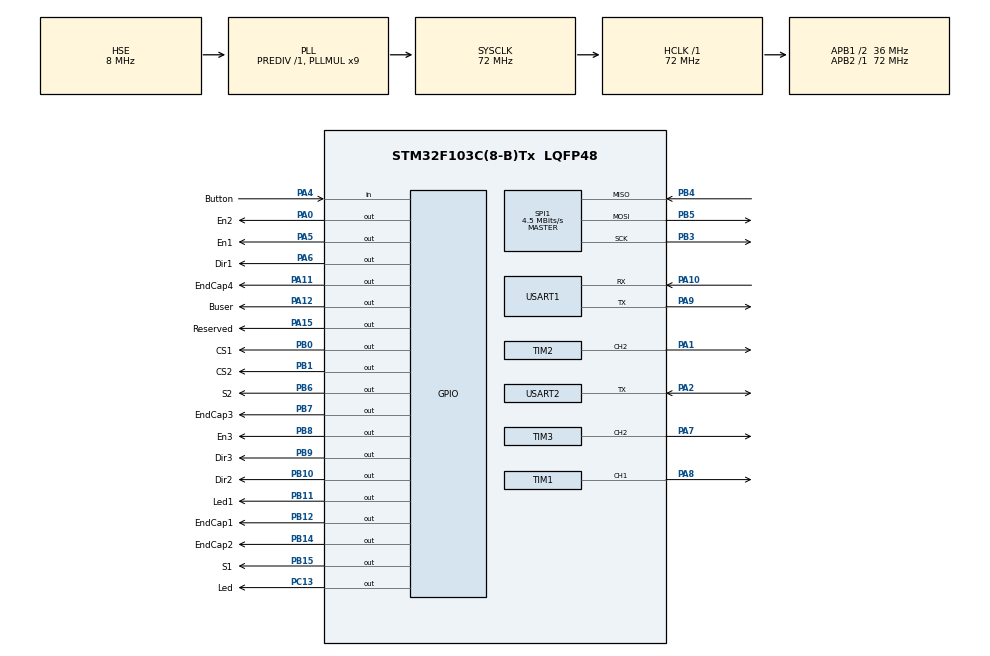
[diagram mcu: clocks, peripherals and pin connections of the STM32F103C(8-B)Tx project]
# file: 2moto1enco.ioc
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FREERTOS.Tasks01=defaultTask,0,128,StartDefaultTask,Default,NULL,Dynamic,NULL,NULL;myAMT22Task,-3,128,StartAMT22Data,Default,NULL,Dynamic,NULL,NULL;myUARTTask,-3,128,StartUARTData,Default,NULL,Dynamic,NULL,NULL
FREERTOS.configUSE_NEWLIB_REENTRANT=1
Mcu.Family=STM32F1
Mcu.Name=STM32F103C(8-B)Tx
Mcu.Package=LQFP48
NVIC.PriorityGroup=NVIC_PRIORITYGROUP_4
NVIC.RCC_IRQn=true\:5\:0\:false\:false\:true\:true\:true\:false\:true
NVIC.SPI1_IRQn=true\:5\:0\:false\:false\:true\:true\:true\:true\:true
NVIC.TIM1_UP_IRQn=true\:5\:0\:false\:false\:true\:true\:true\:true\:true
NVIC.TIM2_IRQn=true\:5\:0\:false\:false\:true\:true\:true\:true\:true
NVIC.TIM3_IRQn=true\:5\:0\:false\:false\:true\:true\:true\:true\:true
NVIC.TIM4_IRQn=true\:15\:0\:false\:false\:true\:false\:false\:true\:true
NVIC.TimeBase=TIM4_IRQn
NVIC.TimeBaseIP=TIM4
NVIC.USART1_IRQn=true\:5\:0\:false\:false\:true\:true\:true\:true\:true
NVIC.USART2_IRQn=true\:5\:0\:false\:false\:true\:true\:true\:true\:true
PA0-WKUP.GPIO_Label=En2
PA0-WKUP.Signal=GPIO_Output
PA1.Signal=S_TIM2_CH2
PA10.Mode=Asynchronous
PA10.Signal=USART1_RX
PA11.GPIO_Label=EndCap4
PA11.Signal=GPIO_Output
PA12.GPIO_Label=Buser
PA12.Signal=GPIO_Output
PA13.Mode=Serial_Wire
PA13.Signal=SYS_JTMS-SWDIO
PA14.Mode=Serial_Wire
PA14.Signal=SYS_JTCK-SWCLK
PA15.GPIO_Label=Reserved
PA15.Signal=GPIO_Output
PA2.Mode=Half_duplex(single_wire_mode)
PA2.Signal=USART2_TX
PA4.GPIO_Label=Button
PA4.Signal=GPIO_Input
PA5.GPIO_Label=En1
PA5.Signal=GPIO_Output
PA6.GPIO_Label=Dir1
PA6.Signal=GPIO_Output
PA7.Signal=S_TIM3_CH2
PA8.Signal=S_TIM1_CH1
PA9.Mode=Asynchronous
PA9.Signal=USART1_TX
PB0.GPIO_Label=CS1
PB0.Signal=GPIO_Output
PB1.GPIO_Label=CS2
PB1.Signal=GPIO_Output
PB10.GPIO_Label=Dir2
PB10.Signal=GPIO_Output
PB11.GPIO_Label=Led1
PB11.Signal=GPIO_Output
PB12.GPIO_Label=EndCap1
PB12.Signal=GPIO_Output
PB14.GPIO_Label=EndCap2
PB14.Signal=GPIO_Output
PB15.GPIO_Label=S1
PB15.Signal=GPIO_Output
PB3.Mode=Full_Duplex_Master
PB3.Signal=SPI1_SCK
PB4.Mode=Full_Duplex_Master
PB4.Signal=SPI1_MISO
PB5.Mode=Full_Duplex_Master
PB5.Signal=SPI1_MOSI
PB6.GPIO_Label=S2
PB6.Signal=GPIO_Output
PB7.GPIO_Label=EndCap3
PB7.Signal=GPIO_Output
PB8.GPIO_Label=En3
PB8.Signal=GPIO_Output
PB9.GPIO_Label=Dir3
PB9.Signal=GPIO_Output
PC13-TAMPER-RTC.GPIO_Label=Led
PC13-TAMPER-RTC.Signal=GPIO_Output
PC14-OSC32_IN.GPIO_Label=PC14
PC14-OSC32_IN.Signal=RCC_OSC32_IN
PC15-OSC32_OUT.GPIO_Label=PC15
PC15-OSC32_OUT.Signal=RCC_OSC32_OUT
PD0-OSC_IN.Mode=HSE-External-Oscillator
PD0-OSC_IN.Signal=RCC_OSC_IN
PD1-OSC_OUT.Mode=HSE-External-Oscillator
PD1-OSC_OUT.Signal=RCC_OSC_OUT
ProjectManager.HeapSize=0x200
ProjectManager.StackSize=0x400
ProjectManager.TargetToolchain=STM32CubeIDE
RCC.AHBFreq_Value=72000000
RCC.APB1CLKDivider=RCC_HCLK_DIV2
RCC.APB1Freq_Value=36000000
RCC.APB1TimFreq_Value=72000000
RCC.APB2Freq_Value=72000000
RCC.APB2TimFreq_Value=72000000
RCC.EnbaleCSS=true
RCC.HCLKFreq_Value=72000000
RCC.PLLMUL=RCC_PLL_MUL9
RCC.PLLSourceVirtual=RCC_PLLSOURCE_HSE
RCC.SYSCLKFreq_VALUE=72000000
RCC.SYSCLKSource=RCC_SYSCLKSOURCE_PLLCLK
RCC.USBFreq_Value=72000000
SH.S_TIM1_CH1.0=TIM1_CH1,PWM Generation1 CH1
SH.S_TIM2_CH2.0=TIM2_CH2,PWM Generation2 CH2
SH.S_TIM3_CH2.0=TIM3_CH2,PWM Generation2 CH2
SPI1.BaudRatePrescaler=SPI_BAUDRATEPRESCALER_16
SPI1.CalculateBaudRate=4.5 MBits/s
SPI1.Direction=SPI_DIRECTION_2LINES
SPI1.Mode=SPI_MODE_MASTER
SPI1.VirtualType=VM_MASTER
TIM1.Channel-PWM\ Generation1\ CH1=TIM_CHANNEL_1
TIM1.Period=1000-1
TIM1.Prescaler=72
TIM2.Channel-PWM\ Generation2\ CH2=TIM_CHANNEL_2
TIM2.Period=1000-1
TIM2.Prescaler=72
TIM3.Channel-PWM\ Generation2\ CH2=TIM_CHANNEL_2
TIM3.Period=1000-1
TIM3.Prescaler=72
USART1.VirtualMode=VM_ASYNC
USART2.VirtualMode=VM_ASYNC
VP_FREERTOS_VS_CMSIS_V1.Mode=CMSIS_V1
VP_SYS_VS_tim4.Mode=TIM4
board=custom

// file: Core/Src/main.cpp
/* USER CODE BEGIN Header */
/**
 ******************************************************************************
 * @file           : main.c
 * @brief          : Main program body
 ******************************************************************************
 * @attention
 *
 * Copyright (c) 2023 STMicroelectronics.
 * All rights reserved.
 *
 * This software is licensed under terms that can be found in the LICENSE file
 * in the root directory of this software component.
 * If no LICENSE file comes with this software, it is provided AS-IS.
 *
 ******************************************************************************
 */
/* USER CODE END Header */
#include "main.h"
#include "cmsis_os.h"

/* USER CODE BEGIN Includes */
#include "AMT22.h"
#include "RoboArm.h"
//#include "TMC2209.h"
/* USER CODE END Includes */

SPI_HandleTypeDef hspi1;

TIM_HandleTypeDef htim1;
TIM_HandleTypeDef htim2;
TIM_HandleTypeDef htim3;

UART_HandleTypeDef huart1;
UART_HandleTypeDef huart2;

osThreadId defaultTaskHandle;
osThreadId myAMT22TaskHandle;
osThreadId myUARTTaskHandle;
/* USER CODE BEGIN PV */

uint8_t rx_index = 0;
uint8_t rx_data[20];
uint8_t rx_buffer[12]; //!!!!!
uint8_t transfer_cplt = 0;

bool startFirstMove = false;
bool sendDataFlag = false;
bool stopHand = false;
bool setZeroFlag = false;

bool timerFT1 = false;
bool timerFT2 = false;
bool startCorrectPos = false;

float recAngleF = 0.0;
uint16_t recDist = 0;
uint16_t recHold = 0;
bool flagReadEnc = 0;

int encMax = 16384;
int linMax = 250;

struct {
	float ang;
	uint16_t lin;
	uint16_t hold;
} send_params;

union UN {
	struct {
		float lin;
		float ang;
		int hold;
	} params;
	uint8_t bytes[sizeof(params)];
} un, un_send;

/* USER CODE END PV */

void SystemClock_Config(void);
static void MX_GPIO_Init(void);
static void MX_TIM1_Init(void);
static void MX_TIM2_Init(void);
static void MX_SPI1_Init(void);
static void MX_USART1_UART_Init(void);
static void MX_USART2_UART_Init(void);
static void MX_TIM3_Init(void);
void StartDefaultTask(void const * argument);
void StartAMT22Data(void const * argument);
void StartUARTData(void const * argument);

/* USER CODE BEGIN 0 */

uint32_t cntImpulse1 = 0, cntImpulse2 = 0, step1 = 0, step2 = 0;

//RoboArm arm(120, 124);
RoboArm arm(0, 124);

/* USER CODE END 0 */

int main(void)
{

  /* MCU Configuration--------------------------------------------------------*/

  /* Reset of all peripherals, Initializes the Flash interface and the Systick. */
  HAL_Init();

  /* Configure the system clock */
  SystemClock_Config();

  /* Initialize all configured peripherals */
  MX_GPIO_Init();
  MX_TIM1_Init();
  MX_TIM2_Init();
  MX_SPI1_Init();
  MX_USART1_UART_Init();
  MX_USART2_UART_Init();
  MX_TIM3_Init();
  /* USER CODE BEGIN 2 */

	HAL_TIM_Base_Init(&htim1);
	HAL_TIM_Base_Init(&htim2);

	arm.SetSettMotors(huart2,htim1, htim2, htim3, Dir1_GPIO_Port, Dir1_Pin,
			Dir2_GPIO_Port, Dir2_Pin, Dir3_GPIO_Port, Dir3_Pin, En1_GPIO_Port,
			En1_Pin, En2_GPIO_Port, En2_Pin, En3_GPIO_Port, En3_Pin);

	arm.SetSettEncoders(hspi1, CS1_GPIO_Port, CS1_Pin, CS2_GPIO_Port, CS2_Pin,
			14);
//	arm.SetMicrosteps(8);
//	arm.SetSoftwareZero();
//	arm.SetZeroEncoders();

	//steppingyakkazavmaxim(15000, 12000);

  /* USER CODE END 2 */

  /* Create the thread(s) */
  /* definition and creation of defaultTask */
  osThreadDef(defaultTask, StartDefaultTask, osPriorityNormal, 0, 128);
  defaultTaskHandle = osThreadCreate(osThread(defaultTask), NULL);

  /* definition and creation of myAMT22Task */
  osThreadDef(myAMT22Task, StartAMT22Data, osPriorityIdle, 0, 128);
  myAMT22TaskHandle = osThreadCreate(osThread(myAMT22Task), NULL);

  /* definition and creation of myUARTTask */
  osThreadDef(myUARTTask, StartUARTData, osPriorityIdle, 0, 128);
  myUARTTaskHandle = osThreadCreate(osThread(myUARTTask), NULL);

  /* Start scheduler */
  osKernelStart();

  /* We should never get here as control is now taken by the scheduler */
  /* Infinite loop */
	while (1) {

	}
}

void SystemClock_Config(void)
{
  RCC_OscInitTypeDef RCC_OscInitStruct = {0};
  RCC_ClkInitTypeDef RCC_ClkInitStruct = {0};

  /** Initializes the RCC Oscillators according to the specified parameters
  * in the RCC_OscInitTypeDef structure.
  */
  RCC_OscInitStruct.OscillatorType = RCC_OSCILLATORTYPE_HSE;
  RCC_OscInitStruct.HSEState = RCC_HSE_ON;
  RCC_OscInitStruct.HSEPredivValue = RCC_HSE_PREDIV_DIV1;
  RCC_OscInitStruct.HSIState = RCC_HSI_ON;
  RCC_OscInitStruct.PLL.PLLState = RCC_PLL_ON;
  RCC_OscInitStruct.PLL.PLLSource = RCC_PLLSOURCE_HSE;
  RCC_OscInitStruct.PLL.PLLMUL = RCC_PLL_MUL9;
  if (HAL_RCC_OscConfig(&RCC_OscInitStruct) != HAL_OK)
  {
    Error_Handler();
  }

  /** Initializes the CPU, AHB and APB buses clocks
  */
  RCC_ClkInitStruct.ClockType = RCC_CLOCKTYPE_HCLK|RCC_CLOCKTYPE_SYSCLK
                              |RCC_CLOCKTYPE_PCLK1|RCC_CLOCKTYPE_PCLK2;
  RCC_ClkInitStruct.SYSCLKSource = RCC_SYSCLKSOURCE_PLLCLK;
  RCC_ClkInitStruct.AHBCLKDivider = RCC_SYSCLK_DIV1;
  RCC_ClkInitStruct.APB1CLKDivider = RCC_HCLK_DIV2;
  RCC_ClkInitStruct.APB2CLKDivider = RCC_HCLK_DIV1;

  if (HAL_RCC_ClockConfig(&RCC_ClkInitStruct, FLASH_LATENCY_2) != HAL_OK)
  {
    Error_Handler();
  }

  /** Enables the Clock Security System
  */
  HAL_RCC_EnableCSS();
}

static void MX_SPI1_Init(void)
{

  /* SPI1 parameter configuration*/
  hspi1.Instance = SPI1;
  hspi1.Init.Mode = SPI_MODE_MASTER;
  hspi1.Init.Direction = SPI_DIRECTION_2LINES;
  hspi1.Init.DataSize = SPI_DATASIZE_8BIT;
  hspi1.Init.CLKPolarity = SPI_POLARITY_LOW;
  hspi1.Init.CLKPhase = SPI_PHASE_1EDGE;
  hspi1.Init.NSS = SPI_NSS_SOFT;
  hspi1.Init.BaudRatePrescaler = SPI_BAUDRATEPRESCALER_16;
  hspi1.Init.FirstBit = SPI_FIRSTBIT_MSB;
  hspi1.Init.TIMode = SPI_TIMODE_DISABLE;
  hspi1.Init.CRCCalculation = SPI_CRCCALCULATION_DISABLE;
  hspi1.Init.CRCPolynomial = 10;
  if (HAL_SPI_Init(&hspi1) != HAL_OK)
  {
    Error_Handler();
  }

}

static void MX_TIM1_Init(void)
{

  TIM_MasterConfigTypeDef sMasterConfig = {0};
  TIM_OC_InitTypeDef sConfigOC = {0};
  TIM_BreakDeadTimeConfigTypeDef sBreakDeadTimeConfig = {0};

  htim1.Instance = TIM1;
  htim1.Init.Prescaler = 72;
  htim1.Init.CounterMode = TIM_COUNTERMODE_UP;
  htim1.Init.Period = 1000-1;
  htim1.Init.ClockDivision = TIM_CLOCKDIVISION_DIV1;
  htim1.Init.RepetitionCounter = 0;
  htim1.Init.AutoReloadPreload = TIM_AUTORELOAD_PRELOAD_DISABLE;
  if (HAL_TIM_PWM_Init(&htim1) != HAL_OK)
  {
    Error_Handler();
  }
  sMasterConfig.MasterOutputTrigger = TIM_TRGO_RESET;
  sMasterConfig.MasterSlaveMode = TIM_MASTERSLAVEMODE_DISABLE;
  if (HAL_TIMEx_MasterConfigSynchronization(&htim1, &sMasterConfig) != HAL_OK)
  {
    Error_Handler();
  }
  sConfigOC.OCMode = TIM_OCMODE_PWM1;
  sConfigOC.Pulse = 0;
  sConfigOC.OCPolarity = TIM_OCPOLARITY_HIGH;
  sConfigOC.OCNPolarity = TIM_OCNPOLARITY_HIGH;
  sConfigOC.OCFastMode = TIM_OCFAST_DISABLE;
  sConfigOC.OCIdleState = TIM_OCIDLESTATE_RESET;
  sConfigOC.OCNIdleState = TIM_OCNIDLESTATE_RESET;
  if (HAL_TIM_PWM_ConfigChannel(&htim1, &sConfigOC, TIM_CHANNEL_1) != HAL_OK)
  {
    Error_Handler();
  }
  sBreakDeadTimeConfig.OffStateRunMode = TIM_OSSR_DISABLE;
  sBreakDeadTimeConfig.OffStateIDLEMode = TIM_OSSI_DISABLE;
  sBreakDeadTimeConfig.LockLevel = TIM_LOCKLEVEL_OFF;
  sBreakDeadTimeConfig.DeadTime = 0;
  sBreakDeadTimeConfig.BreakState = TIM_BREAK_DISABLE;
  sBreakDeadTimeConfig.BreakPolarity = TIM_BREAKPOLARITY_HIGH;
  sBreakDeadTimeConfig.AutomaticOutput = TIM_AUTOMATICOUTPUT_DISABLE;
  if (HAL_TIMEx_ConfigBreakDeadTime(&htim1, &sBreakDeadTimeConfig) != HAL_OK)
  {
    Error_Handler();
  }
  HAL_TIM_MspPostInit(&htim1);

}

static void MX_TIM2_Init(void)
{

  TIM_MasterConfigTypeDef sMasterConfig = {0};
  TIM_OC_InitTypeDef sConfigOC = {0};

  htim2.Instance = TIM2;
  htim2.Init.Prescaler = 72;
  htim2.Init.CounterMode = TIM_COUNTERMODE_UP;
  htim2.Init.Period = 1000-1;
  htim2.Init.ClockDivision = TIM_CLOCKDIVISION_DIV1;
  htim2.Init.AutoReloadPreload = TIM_AUTORELOAD_PRELOAD_DISABLE;
  if (HAL_TIM_PWM_Init(&htim2) != HAL_OK)
  {
    Error_Handler();
  }
  sMasterConfig.MasterOutputTrigger = TIM_TRGO_RESET;
  sMasterConfig.MasterSlaveMode = TIM_MASTERSLAVEMODE_DISABLE;
  if (HAL_TIMEx_MasterConfigSynchronization(&htim2, &sMasterConfig) != HAL_OK)
  {
    Error_Handler();
  }
  sConfigOC.OCMode = TIM_OCMODE_PWM1;
  sConfigOC.Pulse = 0;
  sConfigOC.OCPolarity = TIM_OCPOLARITY_HIGH;
  sConfigOC.OCFastMode = TIM_OCFAST_DISABLE;
  if (HAL_TIM_PWM_ConfigChannel(&htim2, &sConfigOC, TIM_CHANNEL_2) != HAL_OK)
  {
    Error_Handler();
  }
  HAL_TIM_MspPostInit(&htim2);

}

static void MX_TIM3_Init(void)
{

  TIM_MasterConfigTypeDef sMasterConfig = {0};
  TIM_OC_InitTypeDef sConfigOC = {0};

  htim3.Instance = TIM3;
  htim3.Init.Prescaler = 72;
  htim3.Init.CounterMode = TIM_COUNTERMODE_UP;
  htim3.Init.Period = 1000-1;
  htim3.Init.ClockDivision = TIM_CLOCKDIVISION_DIV1;
  htim3.Init.AutoReloadPreload = TIM_AUTORELOAD_PRELOAD_DISABLE;
  if (HAL_TIM_PWM_Init(&htim3) != HAL_OK)
  {
    Error_Handler();
  }
  sMasterConfig.MasterOutputTrigger = TIM_TRGO_RESET;
  sMasterConfig.MasterSlaveMode = TIM_MASTERSLAVEMODE_DISABLE;
  if (HAL_TIMEx_MasterConfigSynchronization(&htim3, &sMasterConfig) != HAL_OK)
  {
    Error_Handler();
  }
  sConfigOC.OCMode = TIM_OCMODE_PWM1;
  sConfigOC.Pulse = 0;
  sConfigOC.OCPolarity = TIM_OCPOLARITY_HIGH;
  sConfigOC.OCFastMode = TIM_OCFAST_DISABLE;
  if (HAL_TIM_PWM_ConfigChannel(&htim3, &sConfigOC, TIM_CHANNEL_2) != HAL_OK)
  {
    Error_Handler();
  }
  HAL_TIM_MspPostInit(&htim3);

}

static void MX_USART1_UART_Init(void)
{

  huart1.Instance = USART1;
  huart1.Init.BaudRate = 115200;
  huart1.Init.WordLength = UART_WORDLENGTH_8B;
  huart1.Init.StopBits = UART_STOPBITS_1;
  huart1.Init.Parity = UART_PARITY_NONE;
  huart1.Init.Mode = UART_MODE_TX_RX;
  huart1.Init.HwFlowCtl = UART_HWCONTROL_NONE;
  huart1.Init.OverSampling = UART_OVERSAMPLING_16;
  if (HAL_UART_Init(&huart1) != HAL_OK)
  {
    Error_Handler();
  }

}

static void MX_USART2_UART_Init(void)
{

  /* USER CODE BEGIN USART2_Init 0 */
//
  /* USER CODE END USART2_Init 0 */

  /* USER CODE BEGIN USART2_Init 1 */
//
  /* USER CODE END USART2_Init 1 */
  huart2.Instance = USART2;
  huart2.Init.BaudRate = 115200;
  huart2.Init.WordLength = UART_WORDLENGTH_8B;
  huart2.Init.StopBits = UART_STOPBITS_1;
  huart2.Init.Parity = UART_PARITY_NONE;
  huart2.Init.Mode = UART_MODE_TX_RX;
  huart2.Init.HwFlowCtl = UART_HWCONTROL_NONE;
  huart2.Init.OverSampling = UART_OVERSAMPLING_16;
  if (HAL_HalfDuplex_Init(&huart2) != HAL_OK)
  {
    Error_Handler();
  }
  /* USER CODE BEGIN USART2_Init 2 */
//
  /* USER CODE END USART2_Init 2 */

}

static void MX_GPIO_Init(void)
{
  GPIO_InitTypeDef GPIO_InitStruct = {0};

  /* GPIO Ports Clock Enable */
  __HAL_RCC_GPIOC_CLK_ENABLE();
  __HAL_RCC_GPIOD_CLK_ENABLE();
  __HAL_RCC_GPIOA_CLK_ENABLE();
  __HAL_RCC_GPIOB_CLK_ENABLE();

  /*Configure GPIO pin Output Level */
  HAL_GPIO_WritePin(Led_GPIO_Port, Led_Pin, GPIO_PIN_RESET);

  /*Configure GPIO pin Output Level */
  HAL_GPIO_WritePin(GPIOA, En2_Pin|En1_Pin|Dir1_Pin|EndCap4_Pin
                          |Buser_Pin|Reserved_Pin, GPIO_PIN_RESET);

  /*Configure GPIO pin Output Level */
  HAL_GPIO_WritePin(GPIOB, CS1_Pin|CS2_Pin|Dir2_Pin|Led1_Pin
                          |EndCap1_Pin|EndCap2_Pin|S1_Pin|S2_Pin
                          |EndCap3_Pin|En3_Pin|Dir3_Pin, GPIO_PIN_RESET);

  /*Configure GPIO pin : Led_Pin */
  GPIO_InitStruct.Pin = Led_Pin;
  GPIO_InitStruct.Mode = GPIO_MODE_OUTPUT_PP;
  GPIO_InitStruct.Pull = GPIO_NOPULL;
  GPIO_InitStruct.Speed = GPIO_SPEED_FREQ_LOW;
  HAL_GPIO_Init(Led_GPIO_Port, &GPIO_InitStruct);

  /*Configure GPIO pins : En2_Pin En1_Pin Dir1_Pin EndCap4_Pin
                           Buser_Pin Reserved_Pin */
  GPIO_InitStruct.Pin = En2_Pin|En1_Pin|Dir1_Pin|EndCap4_Pin
                          |Buser_Pin|Reserved_Pin;
  GPIO_InitStruct.Mode = GPIO_MODE_OUTPUT_PP;
  GPIO_InitStruct.Pull = GPIO_NOPULL;
  GPIO_InitStruct.Speed = GPIO_SPEED_FREQ_LOW;
  HAL_GPIO_Init(GPIOA, &GPIO_InitStruct);

  /*Configure GPIO pin : Button_Pin */
  GPIO_InitStruct.Pin = Button_Pin;
  GPIO_InitStruct.Mode = GPIO_MODE_INPUT;
  GPIO_InitStruct.Pull = GPIO_NOPULL;
  HAL_GPIO_Init(Button_GPIO_Port, &GPIO_InitStruct);

  /*Configure GPIO pins : CS1_Pin CS2_Pin Dir2_Pin Led1_Pin
                           EndCap1_Pin EndCap2_Pin S1_Pin S2_Pin
                           EndCap3_Pin En3_Pin Dir3_Pin */
  GPIO_InitStruct.Pin = CS1_Pin|CS2_Pin|Dir2_Pin|Led1_Pin
                          |EndCap1_Pin|EndCap2_Pin|S1_Pin|S2_Pin
                          |EndCap3_Pin|En3_Pin|Dir3_Pin;
  GPIO_InitStruct.Mode = GPIO_MODE_OUTPUT_PP;
  GPIO_InitStruct.Pull = GPIO_NOPULL;
  GPIO_InitStruct.Speed = GPIO_SPEED_FREQ_LOW;
  HAL_GPIO_Init(GPIOB, &GPIO_InitStruct);

}

/* USER CODE BEGIN 4 */

void HAL_UART_RxCpltCallback(UART_HandleTypeDef *huart) {
	//UNUSED(huart);
	if (huart == &huart1) {
//		if(!strcmp(rx_buffer,"TEXT")) {
//		}

//		uint8_t data[] = { '\\', 0x8f, 0xf8, 'B', 'q', '}', 0x16, 'C', 1, 1, 0, 0 };
		memcpy(un.bytes, rx_buffer, sizeof(rx_buffer));
		switch (un.params.hold) {
		case 0:
		case 1:
			startFirstMove = true;
			break;
		case 25:
			stopHand = true;
			break;
		case 50:
			sendDataFlag = true;
			break;
		case 75:
			setZeroFlag = true;
			break;
		}
		memset(rx_buffer, 0, sizeof(rx_buffer));
		HAL_GPIO_TogglePin(Led_GPIO_Port, Led_Pin);
	}
	HAL_UART_Receive_IT(&huart1, rx_buffer, sizeof(rx_buffer));
}

/* USER CODE END 4 */

void StartDefaultTask(void const * argument)
{
  /* USER CODE BEGIN 5 */
	arm.setPrintState(false);
	/* Infinite loop */
	for (;;) {
		if (startFirstMove) {
			startFirstMove = false;
//			float angle = arm.UnshiftZeroAng(un.params.ang);
//			uint16_t distance = arm.UnshiftZeroLin(un.params.lin);
//			arm.Move2Motors(angle, distance);
			arm.Move2Motors(un.params.ang, un.params.lin);
//			arm.correctPosition();
//			arm.Move2MotorsSimu(un.params.ang, un.params.lin);
//			arm.Move2MotorsSimu(recAngleF, recDist);
			//steppingyakkazavmaxim(2000, 230);
		}

		if (timerFT1 && timerFT2) {

			timerFT1 = false;
			timerFT2 = false;
			un_send.params.lin = 0;
			un_send.params.ang = 0;
			un_send.params.hold = 10;
			HAL_UART_Transmit(&huart1, un_send.bytes, sizeof(un_send.bytes),
					12);

			//TODO SEND MSG BACK TO RASPBERRY

		//	arm.correctPosition();

		}

		osDelay(1);
	}
  /* USER CODE END 5 */
}

void StartAMT22Data(void const * argument)
{
  /* USER CODE BEGIN StartAMT22Data */

	/* Infinite loop */
	for (;;) {

//		char str[100];
//		uint32_t posnowT = arm.GetPosEncoders(1);
//		float angleT = arm.GetAngleEncoders(posnowT) * 100;
//		sprintf(str, "x: enc: %d | ang: %d \n", posnowT, (uint16_t) angleT);
//		HAL_UART_Transmit(&huart1, (uint8_t*) str, strlen(str),
//				HAL_MAX_DELAY);
//
//		posnowT = arm.GetPosEncoders(2);
//		angleT = arm.GetAngleEncoders(posnowT) * 100;
//
//		float distPsteps = angleT * (motorStep * drvMicroSteps)
//				* (6.4516129 / 360);
//		uint32_t mils = distPsteps / arm.linearStepsMil;
//
//		sprintf(str, "y: enc: %d | ang: %d | mm: %d \n", posnowT,
//				(uint16_t) angleT, mils);
//
//		HAL_UART_Transmit(&huart1, (uint8_t*) str, strlen(str),
//				HAL_MAX_DELAY);

		osDelay(1000);
	}
  /* USER CODE END StartAMT22Data */
}

void StartUARTData(void const * argument)
{
  /* USER CODE BEGIN StartUARTData */
	HAL_UART_Receive_IT(&huart1, rx_buffer, sizeof(rx_buffer));
	uint32_t posnowT_1, posnowT_2;
//	float angleT = 0;
//	uint32_t linearDist = 0;
//	flagReadEnc = 1;
//	uint32_t distPmm = 0;
	arm.setPrintState(true);
	/* Infinite loop */
	for (;;) {

		if (arm.getPrintState() && sendDataFlag) {
			sendDataFlag = false;

			int attempts = 0;

			posnowT_1 = arm.GetPosEncoders(1);
//			//if the position returned was 0xFFFF we know that there was an error calculating the checksum
			//make 3 attempts for position. we will pre-increment attempts because we'll use the number later and want an accurate count
			while (posnowT_1 == 0xFFFF && ++attempts < 3)
				posnowT_1 = arm.GetPosEncoders(1); //try again

//			float ang = posnowT_1*360/16384;
			float ang_actual = arm.GetAngleEncoders(posnowT_1);
			float ang = arm.ShiftZeroAng(ang_actual);

			attempts = 0;
//			un_send.params.ang = angleT;

			posnowT_2 = arm.GetPosEncoders(2);
			while (posnowT_2 == 0xFFFF && ++attempts < 3)
				posnowT_2 = arm.GetPosEncoders(2); //try again

			float ang_pos = arm.GetAngleEncoders(posnowT_2);
			float pos_actual = arm.GetLinEncoders(ang_pos);
			float pos = arm.ShiftZeroLin(pos_actual);
//			angleT = arm.GetAngleEncoders(posnowT) * 100;
//
//			float distPsteps = angleT * (motorStep * drvMicroSteps)
//					* (6.45 / 360);
//			uint32_t mils = distPsteps / arm.linearStepsMil;
//
//			un_send.params.lin = mils;
//			un_send.params.hold = 0;
			un_send.params.lin = pos;
			un_send.params.ang = ang;
			un_send.params.hold = 0;

//			uint8_t send_arr[] = {0x01,0x02,0x03,0x04,
//					0x05,0x06,0x07,0x08,
//					0x09,0x0a,0x0b,0x0c};
//
//			size_t s = sizeof(un_send);

//			sprintf(str, "%.2f:", un_send.params.ang);//, send_params.lin, 100);
			HAL_UART_Transmit(&huart1, un_send.bytes, sizeof(un_send.bytes),
					12);

//			HAL_UART_Transmit(&huart1, (uint8_t*)str, sizeof(str), 12);
//			sendDataFlag = false;

		}

		if (stopHand) {
			stopHand = false;
			arm.EmergencyStop();
			un_send.params.lin = 0;
			un_send.params.ang = 0;
			un_send.params.hold = 10;
			HAL_UART_Transmit(&huart1, un_send.bytes, sizeof(un_send.bytes),
					12);
		}

		if (setZeroFlag) {
			setZeroFlag = false;
//			arm.SetZeroEncoders();
			arm.SetSoftwareZero();
			un_send.params.lin = 0;
			un_send.params.ang = 0;
			un_send.params.hold = 10;
			HAL_UART_Transmit(&huart1, un_send.bytes, sizeof(un_send.bytes),
					12);
		}

		osDelay(500);
	}
  /* USER CODE END StartUARTData */
}

void HAL_TIM_PeriodElapsedCallback(TIM_HandleTypeDef *htim)
{
  /* USER CODE BEGIN Callback 0 */

	if (htim->Instance == TIM1)/*Проверяем от какого таймера пришёл CallBack тут надо проверить точность*/
	{
		cntImpulse1++;
		if (cntImpulse1 >= arm.anglePsteps) {

			HAL_TIM_PWM_Stop(&htim1, TIM_CHANNEL_1);
			HAL_TIM_Base_Stop_IT(&htim1);
			arm.SetEnable(1, false);
			cntImpulse1 = 0;
			arm.stateMoveM1 = false;
			timerFT1 = true;
		}

	} else if (htim->Instance == TIM2) {

		cntImpulse2++;
		if (cntImpulse2 >= arm.distPsteps) {
			HAL_TIM_PWM_Stop(&htim2, TIM_CHANNEL_2);
			HAL_TIM_Base_Stop_IT(&htim2);
			arm.SetEnable(2, false);
			cntImpulse2 = 0;
			arm.stateMoveM2 = false;
			timerFT2 = true;
		}
	}
  /* USER CODE END Callback 0 */
  if (htim->Instance == TIM4) {
    HAL_IncTick();
  }
}

void Error_Handler(void)
{
	__disable_irq();
	while (1) {
	}
}
